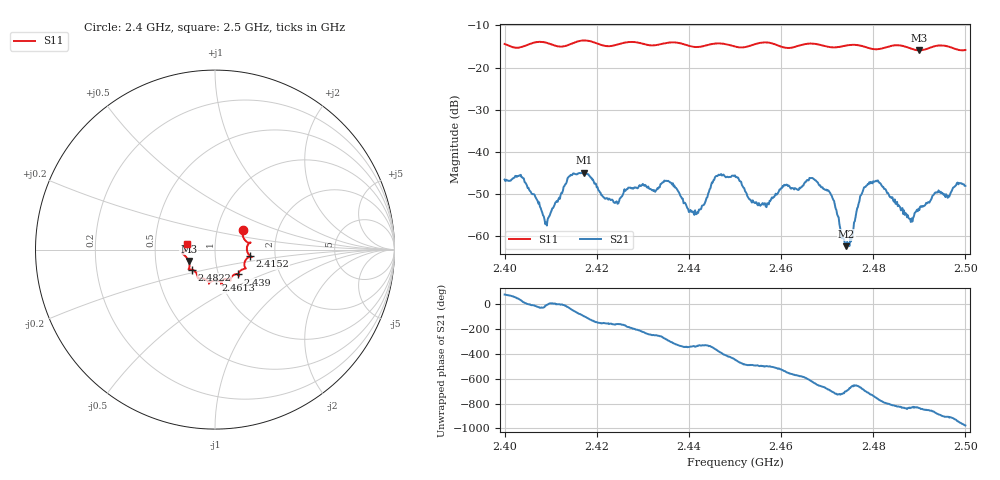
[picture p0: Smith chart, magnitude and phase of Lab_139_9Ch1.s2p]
# Hz S RI R 50
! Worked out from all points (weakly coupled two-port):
!   601 points, 2.4 GHz to 2.5 GHz, reference 50 ohm
!   highest |S21| = -44.94 dB at 2.4173 GHz (marker M1); lowest = -62.4 dB at 2.4742 GHz (marker M2)
!   lowest |S11| = -15.9 dB at 2.49 GHz (marker M3), VSWR 1.38, Z = 36.9 - j4.83 ohm
!   |S11| at or under -10 dB: start of sweep to end of sweep
!   S12 and S22 are empty: the file has one direction only
!   S11 on the Smith chart (normalised r, x): 2.4 GHz: 1.33, +0.31; 2.4152 GHz: 1.48, -0.11; 2.439 GHz: 1.24, -0.35; 2.4613 GHz: 0.96, -0.34; 2.4822 GHz: 0.76, -0.17; 2.5 GHz: 0.73, +0.05
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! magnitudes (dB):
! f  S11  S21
! 2.4 GHz  -14.4  -46.6
! 2.4037 GHz  -15.1  -46.0
! 2.4092 GHz  -14.1  -57.5
! 2.4152 GHz  -14.1  -45.2
! 2.4167 GHz  -13.6  -45.0
! 2.4173 GHz  -13.6  -44.9
! 2.4242 GHz  -14.6  -51.8
! 2.4333 GHz  -14.6  -48.7
! 2.439 GHz  -14.5  -52.0
! 2.4415 GHz  -15.1  -54.8
! 2.446 GHz  -14.3  -45.7
! 2.45 GHz  -15.0  -45.6
! 2.4553 GHz  -14.2  -52.5
! 2.4613 GHz  -15.3  -47.8
! 2.4667 GHz  -14.3  -46.2
! 2.4708 GHz  -15.2  -50.2
! 2.4742 GHz  -14.8  -62.4
! 2.4782 GHz  -15.1  -48.3
! 2.4822 GHz  -15.4  -48.3
! 2.4833 GHz  -15.0  -50.0
! 2.49 GHz  -15.9  -53.8
! 2.5 GHz  -15.8  -48.0
